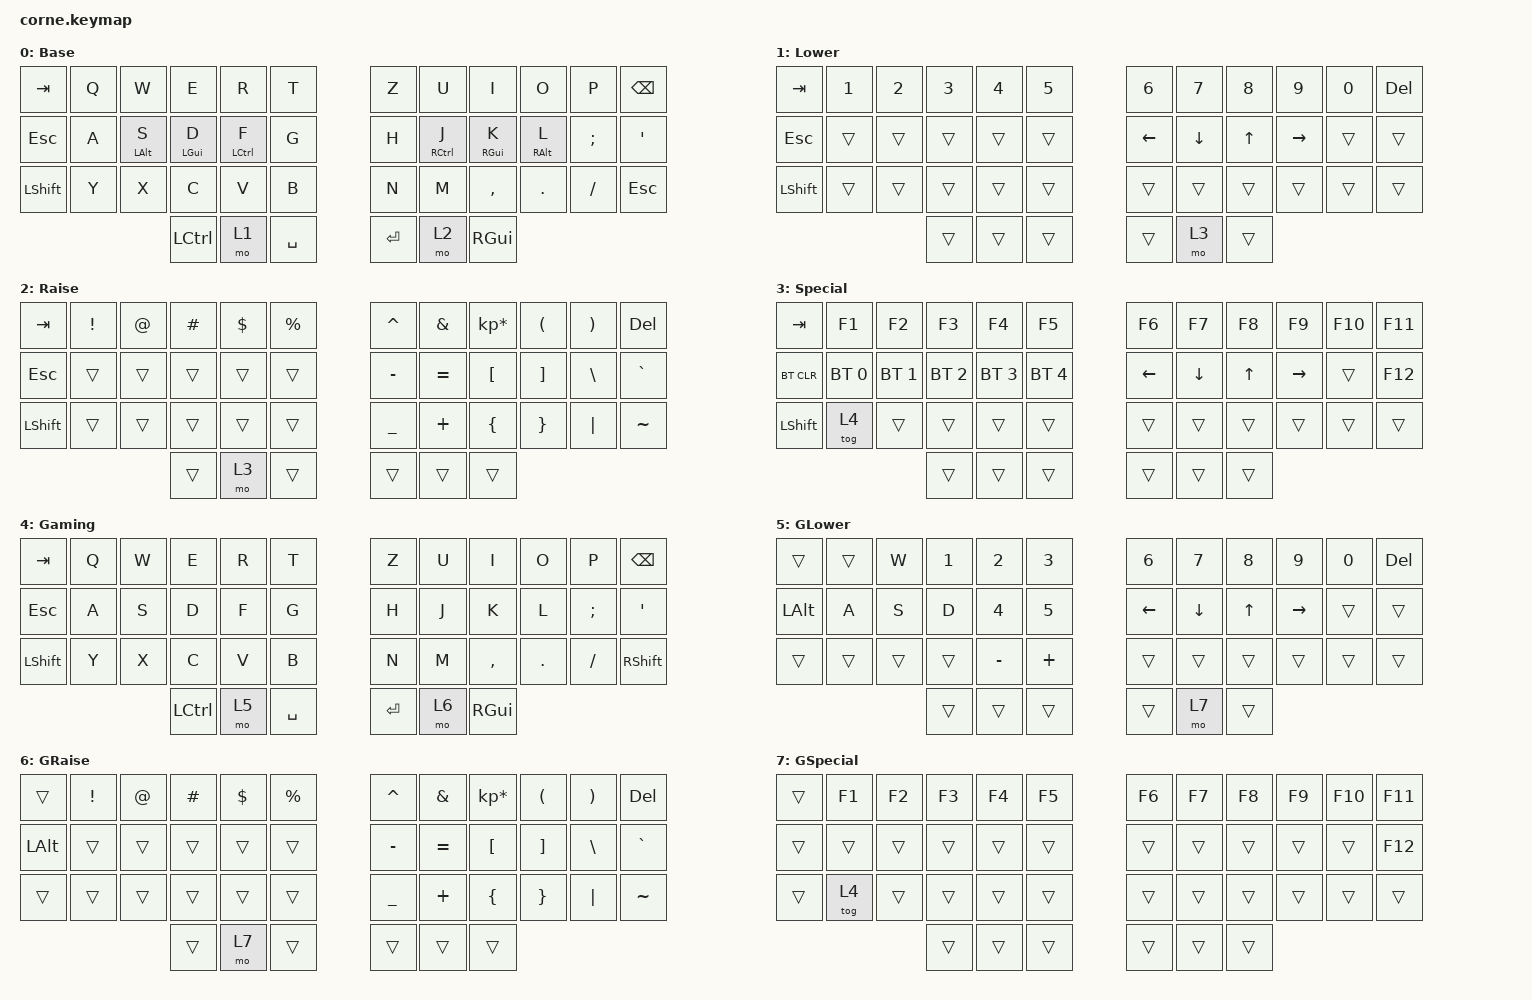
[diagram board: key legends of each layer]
/*
 * Copyright (c) 2020 The ZMK Contributors
 *
 * SPDX-License-Identifier: MIT
 */

#include <behaviors.dtsi>
//#include <behaviors/non_overlap.dtsi>
#include <dt-bindings/zmk/keys.h>
#include <dt-bindings/zmk/bt.h>

/ {
        behaviors {
            hm: homerow_mods {
                compatible = "zmk,behavior-hold-tap";
                #binding-cells = <2>;
                tapping-term-ms = <160>;
                quick-tap-ms = <180>;
                require-prior-idle-ms = <190>;
                flavor = "tap-preferred";
                bindings = <&kp>, <&kp>;
            };
        };

        keymap {
                compatible = "zmk,keymap";

                default_layer {
// -----------------------------------------------------------------------------------------
// |  TAB |  Q  |  W  |  E  |  R  |  T  |   |  Y  |  U   |  I  |  O  |  P  | BKSP |
// | CTRL |  A  |  S  |  D  |  F  |  G  |   |  H  |  J   |  K  |  L  |  ;  |  '   |
// | SHFT |  Z  |  X  |  C  |  V  |  B  |   |  N  |  M   |  ,  |  .  |  /  | ESC  |
//                    | GUI | LWR | SPC |   | ENT | RSE  | ALT |
                        display-name = "Base";
                        bindings = <
  &kp TAB     &kp Q   &kp W      &kp E      &kp R      &kp T     &kp Z   &kp U      &kp I      &kp O      &kp P    &kp BSPC
  &kp ESC     &kp A   &hm LALT S &hm LGUI D &hm LCTL F &kp G     &kp H   &hm RCTL J &hm RGUI K &hm RALT L &kp SEMI &kp SQT
  &kp LSHFT   &kp Y   &kp X      &kp C      &kp V      &kp B     &kp N   &kp M      &kp COMMA  &kp DOT    &kp FSLH &kp ESC
                                 &kp LCTL   &mo 1      &kp SPACE &kp RET &mo 2      &kp RGUI
                        >;
                };
                lower_layer {
// -----------------------------------------------------------------------------------------
// |  TAB |  1  |  2  |  3  |  4  |  5  |   |  6  |  7  |  8  |  9  |  0  | BKSP |
// | BTCLR| BT1 | BT2 | BT3 | BT4 | BT5 |   | LFT | DWN |  UP | RGT |     |      |
// | SHFT |     |     |     |     |     |   |     |     |     |     |     |      |
//                    | GUI |     | SPC |   | ENT |     | ALT |
                        display-name = "Lower";
                        bindings = <
  &kp TAB    &kp N1       &kp N2       &kp N3       &kp N4       &kp N5         &kp N6    &kp N7    &kp N8   &kp N9     &kp N0 &kp DEL
  &kp ESC    &trans       &trans       &trans       &trans       &trans         &kp LEFT  &kp DOWN  &kp UP   &kp RIGHT  &trans &trans
  &kp LSHFT  &trans       &trans       &trans       &trans       &trans         &trans    &trans    &trans   &trans     &trans &trans
                                       &trans       &trans       &trans         &trans    &mo 3     &trans
                        >;
                };

                raise_layer {
// -----------------------------------------------------------------------------------------
// |  TAB |  !  |  @  |  #  |  $  |  %  |   |  ^  |  &  |  *  |  (  |  )  | BKSP |
// | CTRL |     |     |     |     |     |   |  -  |  =  |  [  |  ]  |  \  |  `   |
// | SHFT |     |     |     |     |     |   |  _  |  +  |  {  |  }  | "|" |  ~   |
//                    | GUI |     | SPC |   | ENT |     | ALT |
                        display-name = "Raise";
                        bindings = <
  &kp TAB   &kp EXCL &kp AT &kp HASH &kp DLLR &kp PRCNT   &kp CARET &kp AMPS  &kp KP_MULTIPLY &kp LPAR &kp RPAR &kp DEL
  &kp ESC   &trans   &trans &trans   &trans   &trans      &kp MINUS &kp EQUAL &kp LBKT        &kp RBKT &kp BSLH &kp GRAVE
  &kp LSHFT &trans   &trans &trans   &trans   &trans      &kp UNDER &kp PLUS  &kp LBRC        &kp RBRC &kp PIPE &kp TILDE
                            &trans   &mo 3    &trans      &trans   &trans    &trans
                        >;
                };
                special_layer {
                  display-name = "Special";
                  bindings = <
  &kp TAB    &kp F1       &kp F2       &kp F3       &kp F4       &kp F5         &kp F6   &kp F7    &kp F8  &kp F9     &kp F10  &kp F11
  &bt BT_CLR &bt BT_SEL 0 &bt BT_SEL 1 &bt BT_SEL 2 &bt BT_SEL 3 &bt BT_SEL 4   &kp LEFT &kp DOWN  &kp UP  &kp RIGHT  &trans   &kp F12
  &kp LSHFT  &tog 4       &trans       &trans       &trans       &trans         &trans   &trans    &trans  &trans     &trans   &trans
                                       &trans       &trans       &trans         &trans   &trans    &trans
                  >;
                };

                // -----------------------------------------------------------------------------------------
                // Gaming layers
                gaming_layer { // #4
                  display-name = "Gaming";
                  bindings = <
  &kp TAB    &kp Q   &kp W   &kp E     &kp R     &kp T      &kp Z   &kp U   &kp I      &kp O     &kp P     &kp BSPC
  &kp ESC    &kp A   &kp S   &kp D     &kp F     &kp G      &kp H   &kp J   &kp K      &kp L     &kp SEMI  &kp SQT
  &kp LSHFT  &kp Y   &kp X   &kp C     &kp V     &kp B      &kp N   &kp M   &kp COMMA  &kp DOT   &kp FSLH  &kp RSHFT
                             &kp LCTL  &mo 5     &kp SPACE  &kp RET &mo 6   &kp RGUI
                  >;
                };

                gaming_layer_lower { // #5
                  display-name = "GLower";
                  bindings = <
  &trans     &trans    &kp W     &kp N1     &kp N2    &kp N3     &kp N6    &kp N7    &kp N8   &kp N9     &kp N0  &kp DEL
  &kp LALT   &kp  A    &kp S     &kp  D     &kp N4    &kp N5     &kp LEFT  &kp DOWN  &kp UP   &kp RIGHT  &trans  &trans
  &trans     &trans    &trans    &trans     &kp MINUS &kp PLUS   &trans    &trans    &trans   &trans     &trans  &trans
                                 &trans     &trans    &trans     &trans    &mo 7     &trans
                  >;
                };

                // Gaming - Raise
                // This basically is a copy of layer_raise with special key tweaks for the gaming layer
                gaming_layer_raise { // #6
                  display-name = "GRaise";
                  bindings = <
  &trans    &kp EXCL &kp AT &kp HASH &kp DLLR &kp PRCNT   &kp CARET &kp AMPS  &kp KP_MULTIPLY &kp LPAR &kp RPAR &kp DEL
  &kp LALT  &trans   &trans &trans   &trans   &trans      &kp MINUS &kp EQUAL &kp LBKT        &kp RBKT &kp BSLH &kp GRAVE
  &trans    &trans   &trans &trans   &trans   &trans      &kp UNDER &kp PLUS  &kp LBRC        &kp RBRC &kp PIPE &kp TILDE
                            &trans   &mo 7    &trans      &trans    &trans    &trans
                  >;
                };

                // Gaming - Special
                // Just an empty layer to exit out of gaming mode
                gaming_layer_special { // #7
                  display-name = "GSpecial";
                  bindings = <
  &trans     &kp F1       &kp F2       &kp F3       &kp F4       &kp F5         &kp F6   &kp F7    &kp F8  &kp F9     &kp F10  &kp F11
  &trans     &trans       &trans       &trans       &trans       &trans         &trans   &trans    &trans  &trans     &trans   &kp F12
  &trans     &tog 4       &trans       &trans       &trans       &trans         &trans   &trans    &trans  &trans     &trans   &trans
                                       &trans       &trans       &trans         &trans   &trans    &trans
                  >;
                };
        };
};
